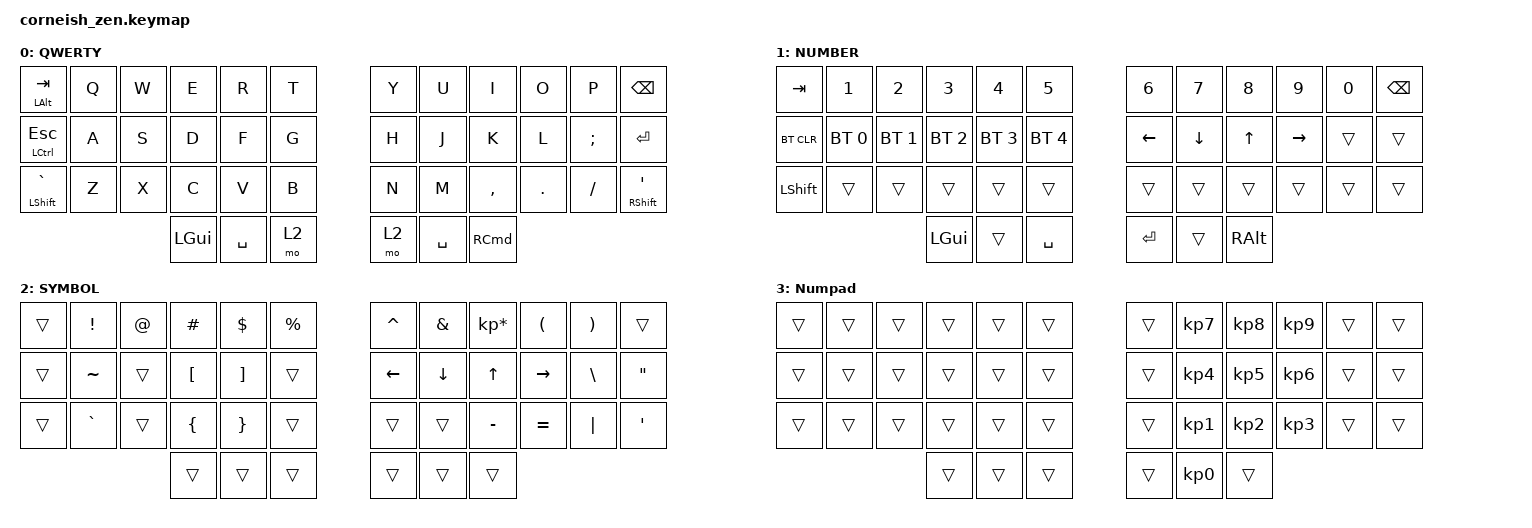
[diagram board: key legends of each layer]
/*
*
* Copyright (c) 2021 Darryl deHaan
* SPDX-License-Identifier: MIT
*
*/

#include <behaviors.dtsi>
#include <dt-bindings/zmk/keys.h>
#include <dt-bindings/zmk/bt.h>

/ {
    chosen {
        zmk,matrix_transform = &default_transform;

        //zmk,matrix_transform = &five_column_transform;
    };
};

/ {
    combos {
        compatible = "zmk,combos";

        numpad {
            bindings = <&mo 3>;
            key-positions = <15 16>;
            timeout-ms = 32;
        };

        system {
            bindings = <&mo 1>;
            key-positions = <19 20>;
            timeout-ms = 32;
        };
    };

    keymap {
        compatible = "zmk,keymap";

        default_layer {
            label = "QWERTY";

            // -----------------------------------------------------------------------------------------
            // |  TAB |  Q  |  W  |  E  |  R  |  T  |   |  Y  |  U   |  I  |  O  |  P  | BKSP |
            // | CTRL |  A  |  S  |  D  |  F  |  G  |   |  H  |  J   |  K  |  L  |  ;  |  '   |
            // | SHFT |  Z  |  X  |  C  |  V  |  B  |   |  N  |  M   |  ,  |  .  |  /  | ESC  |
            //                    | GUI | LWR | SPC |   | ENT | RSE  | ALT |

            bindings = <
&mt LEFT_ALT TAB  &kp Q  &kp W     &kp E      &kp R  &kp T    &kp Y      &kp U              &kp I    &kp O     &kp P              &kp BSPC
   &mt LCTRL ESC  &kp A  &kp S     &kp D      &kp F  &kp G    &kp H      &kp J              &kp K    &kp L  &kp SEMI               &kp RET
 &mt LSHFT GRAVE  &kp Z  &kp X     &kp C      &kp V  &kp B    &kp N      &kp M          &kp COMMA  &kp DOT  &kp FSLH  &mt RIGHT_SHIFT APOS
                                &kp LGUI  &kp SPACE  &mo 2    &mo 2  &kp SPACE  &kp RIGHT_COMMAND
            >;
        };

        System {
            label = "NUMBER";

            // -----------------------------------------------------------------------------------------
            // |  TAB |  1  |  2  |  3  |  4  |  5  |   |  6  |  7  |  8  |  9  |  0  | BKSP |
            // | BTCLR| BT1 | BT2 | BT3 | BT4 | BT5 |   | LFT | DWN |  UP | RGT |     |      |
            // | SHFT |     |     |     |     |     |   |     |     |     |     |     |      |
            //                    | GUI |     | SPC |   | ENT |     | ALT |

            bindings = <
   &kp TAB        &kp N1        &kp N2        &kp N3        &kp N4        &kp N5      &kp N6    &kp N7    &kp N8     &kp N9  &kp N0  &kp BSPC
&bt BT_CLR  &bt BT_SEL 0  &bt BT_SEL 1  &bt BT_SEL 2  &bt BT_SEL 3  &bt BT_SEL 4    &kp LEFT  &kp DOWN    &kp UP  &kp RIGHT  &trans    &trans
 &kp LSHFT        &trans        &trans        &trans        &trans        &trans      &trans    &trans    &trans     &trans  &trans    &trans
                                            &kp LGUI        &trans     &kp SPACE     &kp RET    &trans  &kp RALT
            >;
        };

        Symbol {
            label = "SYMBOL";

            // -----------------------------------------------------------------------------------------
            // |  TAB |  !  |  @  |  #  |  $  |  %  |   |  ^  |  &  |  *  |  (  |  )  | BKSP |
            // | CTRL |     |     |     |     |     |   |  -  |  =  |  [  |  ]  |  \  |  `   |
            // | SHFT |     |     |     |     |     |   |  _  |  +  |  {  |  }  | "|" |  ~   |
            //                    | GUI |     | SPC |   | ENT |     | ALT |

            bindings = <
&trans   &kp EXCL  &kp AT          &kp HASH           &kp DLLR  &kp PRCNT    &kp CARET  &kp AMPS  &kp KP_MULTIPLY   &kp LPAR  &kp RPAR             &trans
&trans  &kp TILDE  &trans  &kp LEFT_BRACKET  &kp RIGHT_BRACKET     &trans     &kp LEFT  &kp DOWN           &kp UP  &kp RIGHT  &kp BSLH  &kp DOUBLE_QUOTES
&trans  &kp GRAVE  &trans    &kp LEFT_BRACE    &kp RIGHT_BRACE     &trans       &trans    &trans        &kp MINUS  &kp EQUAL  &kp PIPE   &kp SINGLE_QUOTE
                                     &trans             &trans     &trans       &trans    &trans           &trans
            >;
        };

        Numpad {
            bindings = <
&trans  &trans  &trans  &trans  &trans  &trans    &trans  &kp KP_NUMBER_7  &kp KP_NUMBER_8  &kp KP_NUMBER_9  &trans  &trans
&trans  &trans  &trans  &trans  &trans  &trans    &trans  &kp KP_NUMBER_4  &kp KP_NUMBER_5  &kp KP_NUMBER_6  &trans  &trans
&trans  &trans  &trans  &trans  &trans  &trans    &trans  &kp KP_NUMBER_1  &kp KP_NUMBER_2  &kp KP_NUMBER_3  &trans  &trans
                        &trans  &trans  &trans    &trans  &kp KP_NUMBER_0           &trans
            >;
        };
    };
};
